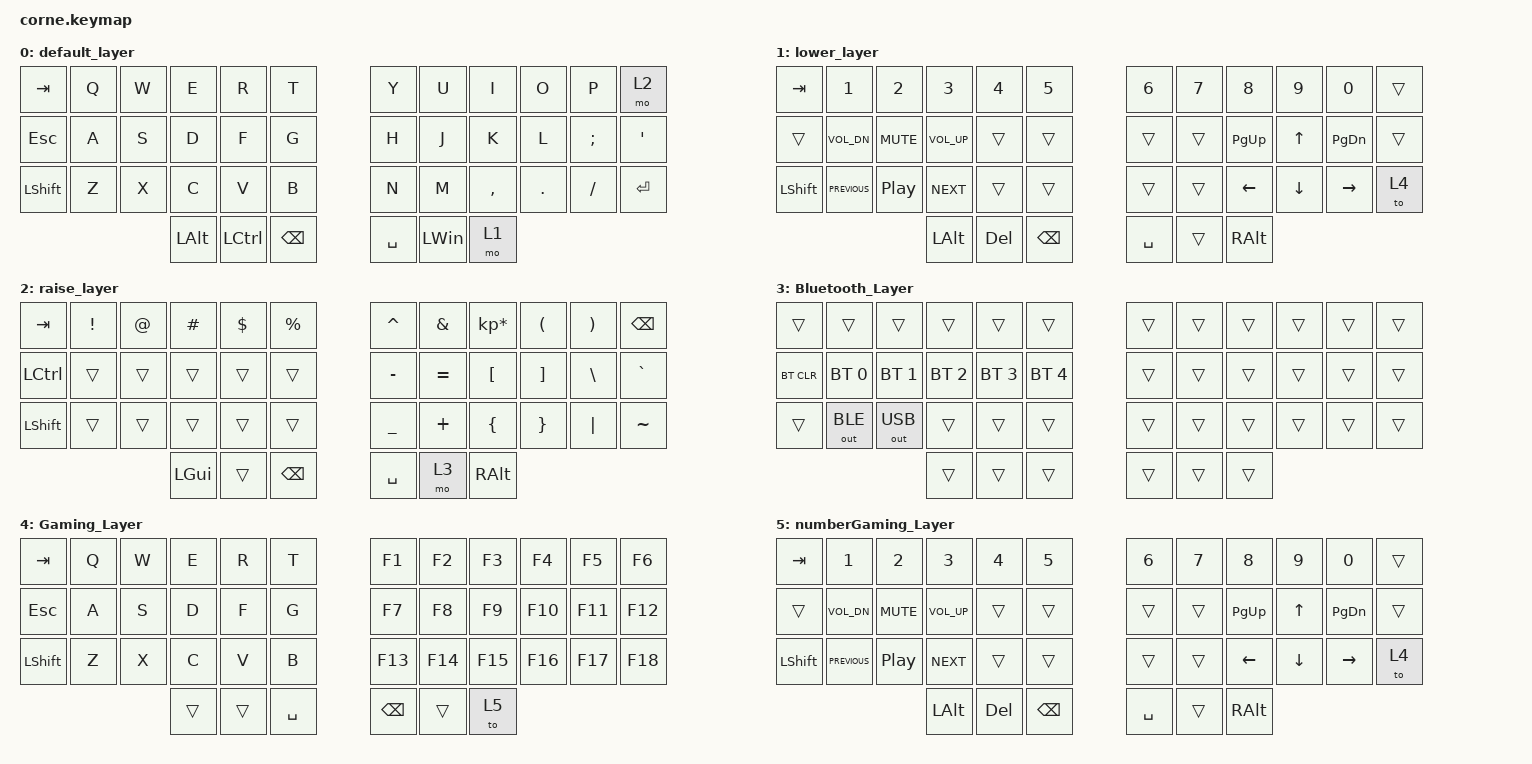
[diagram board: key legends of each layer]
 */

#include <behaviors.dtsi>
#include <dt-bindings/zmk/bt.h>
#include <dt-bindings/zmk/keys.h>

#include <dt-bindings/zmk/outputs.h>

/ {
    keymap {
        compatible = "zmk,keymap";

        default_layer {
            // -----------------------------------------------------------------------------------------
            // |  TAB |  Q  |  W  |  E  |  R  |  T  |   |  Y  |  U   |  I  |  O  |  P  | BKSP |
            // | CTRL |  A  |  S  |  D  |  F  |  G  |   |  H  |  J   |  K  |  L  |  ;  |  '   |
            // | SHFT |  Z  |  X  |  C  |  V  |  B  |   |  N  |  M   |  ,  |  .  |  /  | ESC  |
            //                    | GUI | LWR | SPC |   | ENT | RSE  | ALT |

            bindings = <
&kp TAB     &kp Q  &kp W  &kp E         &kp R             &kp T            &kp Y      &kp U         &kp I      &kp O    &kp P     &mo 2
&kp ESCAPE  &kp A  &kp S  &kp D         &kp F             &kp G            &kp H      &kp J         &kp K      &kp L    &kp SEMI  &kp SQT
&kp LSHFT   &kp Z  &kp X  &kp C         &kp V             &kp B            &kp N      &kp M         &kp COMMA  &kp DOT  &kp FSLH  &kp ENTER
                          &kp LEFT_ALT  &kp LEFT_CONTROL  &kp BACKSPACE    &kp SPACE  &kp LEFT_WIN  &mo 1
            >;
        };

        lower_layer {
            // -----------------------------------------------------------------------------------------
            // |  TAB |  1  |  2  |  3  |  4  |  5  |   |  6  |  7  |  8  |  9  |  0  | BKSP |
            // | BTCLR| BT1 | BT2 | BT3 | BT4 | BT5 |   | LFT | DWN |  UP | RGT |     |      |
            // | SHFT |     |     |     |     |     |   |     |     |     |     |     |      |
            //                    | GUI |     | SPC |   | ENT |     | ALT |

            bindings = <
&kp TAB    &kp N1          &kp N2            &kp N3        &kp N4      &kp N5           &kp N6     &kp N7  &kp N8          &kp N9          &kp N0           &trans
&trans     &kp C_VOL_DN    &kp C_MUTE        &kp C_VOL_UP  &trans      &trans           &trans     &trans  &kp PAGE_UP     &kp UP_ARROW    &kp PAGE_DOWN    &trans
&kp LSHFT  &kp C_PREVIOUS  &kp C_PLAY_PAUSE  &kp C_NEXT    &trans      &trans           &trans     &trans  &kp LEFT_ARROW  &kp DOWN_ARROW  &kp RIGHT_ARROW  &to 4
                                             &kp LEFT_ALT  &kp DELETE  &kp BACKSPACE    &kp SPACE  &trans  &kp RALT
            >;
        };

        raise_layer {
            // -----------------------------------------------------------------------------------------
            // |  TAB |  !  |  @  |  #  |  $  |  %  |   |  ^  |  &  |  *  |  (  |  )  | BKSP |
            // | CTRL |     |     |     |     |     |   |  -  |  =  |  [  |  ]  |  \  |  `   |
            // | SHFT |     |     |     |     |     |   |  _  |  +  |  {  |  }  | "|" |  ~   |
            //                    | GUI |     | SPC |   | ENT |     | ALT |

            bindings = <
&kp TAB    &kp EXCL  &kp AT  &kp HASH  &kp DLLR  &kp PRCNT        &kp CARET  &kp AMPS   &kp KP_MULTIPLY  &kp LPAR  &kp RPAR  &kp BSPC
&kp LCTRL  &trans    &trans  &trans    &trans    &trans           &kp MINUS  &kp EQUAL  &kp LBKT         &kp RBKT  &kp BSLH  &kp GRAVE
&kp LSHFT  &trans    &trans  &trans    &trans    &trans           &kp UNDER  &kp PLUS   &kp LBRC         &kp RBRC  &kp PIPE  &kp TILDE
                             &kp LGUI  &trans    &kp BACKSPACE    &kp SPACE  &mo 3      &kp RALT
            >;
        };

        Bluetooth_Layer {
            bindings = <
&trans      &trans        &trans        &trans        &trans        &trans          &trans  &trans  &trans  &trans  &trans  &trans
&bt BT_CLR  &bt BT_SEL 0  &bt BT_SEL 1  &bt BT_SEL 2  &bt BT_SEL 3  &bt BT_SEL 4    &trans  &trans  &trans  &trans  &trans  &trans
&trans      &out OUT_BLE  &out OUT_USB  &trans        &trans        &trans          &trans  &trans  &trans  &trans  &trans  &trans
                                        &trans        &trans        &trans          &trans  &trans  &trans
            >;
        };
        Gaming_Layer {
            bindings = <
&kp TAB    &kp Q  &kp W  &kp E  &kp R  &kp T                   &kp F1    &kp F2   &kp F3   &kp F4   &kp F5    &kp F6
&kp ESC    &kp A  &kp S  &kp D  &kp F  &kp G                   &kp F7    &kp F8   &kp F9   &kp F10  &kp F11   &kp F12
&kp LSHFT  &kp Z  &kp X  &kp C  &kp V  &kp B                   &kp F13   &kp F14  &kp F15  &kp F16  &kp F17   &kp F18
                        &trans  &trans  &kp SPACE    &kp BACKSPACE  &trans  &to 5
            >;
        };
        numberGaming_Layer {
            bindings = <
&kp TAB    &kp N1          &kp N2            &kp N3        &kp N4      &kp N5           &kp N6     &kp N7  &kp N8          &kp N9          &kp N0           &trans
&trans     &kp C_VOL_DN    &kp C_MUTE        &kp C_VOL_UP  &trans      &trans           &trans     &trans  &kp PAGE_UP     &kp UP_ARROW    &kp PAGE_DOWN    &trans
&kp LSHFT  &kp C_PREVIOUS  &kp C_PLAY_PAUSE  &kp C_NEXT    &trans      &trans           &trans     &trans  &kp LEFT_ARROW  &kp DOWN_ARROW  &kp RIGHT_ARROW  &to 4
                                             &kp LEFT_ALT  &kp DELETE  &kp BACKSPACE    &kp SPACE  &trans  &kp RALT
            >;
        };
    };
};
